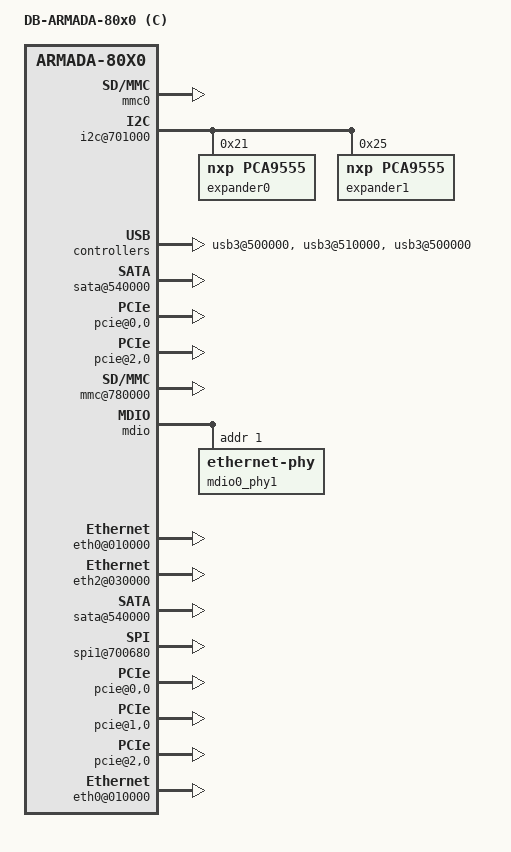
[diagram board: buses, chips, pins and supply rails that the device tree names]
/*
 * ***************************************************************************
 * Copyright (C) 2017 Marvell International Ltd.
 * ***************************************************************************
 * This program is free software: you can redistribute it and/or modify it
 * under the terms of the GNU General Public License as published by the Free
 * Software Foundation, either version 2 of the License, or any later version.
 *
 * This program is distributed in the hope that it will be useful,
 * but WITHOUT ANY WARRANTY; without even the implied warranty of
 * MERCHANTABILITY or FITNESS FOR A PARTICULAR PURPOSE.  See the
 * GNU General Public License for more details.
 *
 * You should have received a copy of the GNU General Public License
 * along with this program.  If not, see <http://www.gnu.org/licenses/>.
 * ***************************************************************************
 */
/dts-v1/;

#include "armada-80x0.dtsi" /* include SoC device tree */
#include "armada-80x0-dev-info.dtsi" /* include Marvell specific info (S@R, MPP cmd) */
#include "cp110-mpp-bus-info.dtsi" /* include MPP bus info */
#include <dt-bindings/multi-fdt/a8k/multi-fdt.h>
/ {
	model = "DB-ARMADA-80x0 (C)";
	compatible = "marvell,armada-80x0-db", "marvell,armada-80x0";
	fdt_config_id = <A80X0_C>;
	board_id = <A8K_8040_DB>;

	ap-806 {
		internal-regs {
			mmc0: mmc@6E0000 {
				status = "okay";
			};
			pinctl: pinctl@6F4000 {
					/* MPP Bus:
						SDIO  [0-10]
						UART0 [11,19]
					*/
					  /* 0 1 2 3 4 5 6 7 8 9 */
				pin-func = < 1 1 1 1 1 1 1 1 1 1
					     1 3 0 0 0 0 0 0 0 3>;
			};
		};
	};
	cp110-master {
		internal-regs {
			i2c@701000 {
				status = "okay";
				expander0: pca953x@21 {
					compatible = "nxp,pca9555";
					reg = <0x21>;
					status = "okay";
				};
				expander1: pca953x@25 {
					compatible = "nxp,pca9555";
					reg = <0x25>;
					status = "okay";
				};
			};
			utmi0@580000 {
				utmi-port = <UTMI_PHY_TO_USB3_HOST0>;
			};
			utmi1@581000 {
				utmi-port = <UTMI_PHY_TO_USB3_HOST1>;
			};
			usb3@500000 {
				gpio-vbus = <&expander0 EXPANDER0_GPIO(0) GPIO_ACTIVE_HIGH>;
				gpio-vbus-cur-lim = <&expander0 EXPANDER0_GPIO(4) GPIO_ACTIVE_HIGH>;
				vbus-enable-delay = <1000>;
				vbus-disable-delay = <1000>;
				status = "okay";
			};
			usb3@510000 {
				gpio-vbus = <&expander0 EXPANDER0_GPIO(1) GPIO_ACTIVE_HIGH>;
				gpio-vbus-cur-lim = <&expander0 EXPANDER0_GPIO(5) GPIO_ACTIVE_HIGH>;
				vbus-enable-delay = <1000>;
				vbus-disable-delay = <1000>;
				status = "okay";
			};
			sata@540000 {
				status = "okay";
			};
			pcie-controller {
				pcie@0,0 {
					status = "okay";
				};
				pcie@1,0 {
					status = "disabled";
				};
				pcie@2,0 {
					status = "okay";
				};
			};
			mmc@780000 {
				status = "okay";
			};
			pinctl@440000 {
					/* MPP Bus:
					   [0-31] = 0xff: Keep default CP0_shared_pins
						[11] CLKOUT_MPP_11 (out)
						[23] LINK_RD_IN_CP2CP (in)
						[25] CLKOUT_MPP_25 (out)
						[29] AVS_FB_IN_CP2CP (in)
					   [32,34] GE_MDIO/MDC
					   [33]    GPIO: GE_INT#/push button/Wake
					   [35]    MSS_GPIO[3]: MSS_PWDN
					   [36]    MSS_GPIO[5]: MSS_VTT_EN
					   [37-38] I2C0
					   [39]	   PTP_CLK
					   [40-41] SATA[0/1]_PRESENT_ACTIVEn
					   [42-43] XG_MDC/XG_MDIO (XSMI)
					   [44-55] RGMII1
					   [56-62] SD
					*/
					/*   0    1    2    3    4    5    6    7    8    9 */
				pin-func = < 0xff 0xff 0xff 0xff 0xff 0xff 0xff 0xff 0xff 0xff
					     0xff 0xff 0xff 0xff 0xff 0xff 0xff 0xff 0xff 0xff
					     0xff 0xff 0xff 0xff 0xff 0xff 0xff 0xff 0xff 0xff
					     0xff 0xff 7    0    7    0xA  0xA  2    2    5
					     9    9    8    8    1    1    1    1    1    1
					     1    1    1    1    1    1    0xE  0xE  0xE  0xE
					     0xE  0xE  0xE>;
			};

			comphy {
				/* Serdes Configuration:
					Lane 0: PCIe0 (x1)
					Lane 1: SATA0
					Lane 2: SFI (10G)
					Lane 3: SATA1
					Lane 4: USB3_HOST1
					Lane 5: PCIe2 (x1)
				*/
				phy0 {
					phy-type = <PHY_TYPE_PEX0>;
				};
				phy1 {
					phy-type = <PHY_TYPE_SATA0>;
				};
				phy2 {
					phy-type = <PHY_TYPE_SFI>;
				};
				phy3 {
					phy-type = <PHY_TYPE_SATA1>;
				};
				phy4 {
					phy-type = <PHY_TYPE_USB3_HOST1>;
				};
				phy5 {
					phy-type = <PHY_TYPE_PEX2>;
				};
			};
			mdio {
				#address-cells = <1>;
				#size-cells = <0>;
				mdio0_phy1: ethernet-phy@1 {
					reg = <1>;
				};
			};
			gop {
				mac0 {
					phy-mode = "sfi"; /* lane-2 */
				};
				mac2 {
					phy-mode = "none"; /* disabled */
				};
				mac3 {
					phy-mode = "rgmii"; /* rgmii-1 */
					phy = <&mdio0_phy1>;
				};
			};
			ppv22@000000 {
				eth0@010000 {
					status = "okay";
				};
				eth1@020000 {
					status = "disabled";
				};
				eth2@030000 {
					status = "okay";
				};
			};
		};
	};

	cp110-slave {
		internal-regs {
			utmi0@580000 {
				utmi-port = <UTMI_PHY_TO_USB3_HOST0>;
			};
			usb3@500000 {
				gpio-vbus = <&expander1 EXPANDER1_GPIO(0) GPIO_ACTIVE_HIGH>;
				gpio-vbus-cur-lim = <&expander1 EXPANDER1_GPIO(4) GPIO_ACTIVE_HIGH>;
				vbus-enable-delay = <1000>;
				vbus-disable-delay = <1000>;
				status = "okay";
			};
			sata@540000 {
				status = "okay";
			};
			spi1@700680 {
				status = "okay";
			};
			pcie-controller {
				pcie@0,0 {
					status = "okay";
				};
				pcie@1,0 {
					status = "okay";
				};
				pcie@2,0 {
					status = "okay";
				};
			};
			pinctl@440000 {
					/* MPP Bus:
					  [0-11] TDM
					  [13-16] SPI1
					  [27-28] SATA[0/1]_PRESENT_ACTIVEn
					  [29-30] UART0
					  [32-62] = 0xff: Keep default CP1_shared_pins
					*/
					/*   0    1    2    3    4    5    6    7    8    9 */
				pin-func = < 0x4  0x4  0x4  0x4  0x4  0x4  0x4  0x4  0x4  0x4
					     0x4  0x4  0x3  0x3  0x3  0x3  0x3  0xff 0xff 0xff
					     0xff 0xff 0xff 0xff 0xff 0xff 0xff 0x9  0x9  0xA
					     0xA  0x0  0xff 0xff 0xff 0xff 0xff 0xff 0xff 0xff
					     0xff 0xff 0xff 0xff 0xff 0xff 0xff 0xff 0xff 0xff
					     0xff 0xff 0xff 0xff 0xff 0xff 0xff 0xff 0xff 0xff
					     0xff 0xff 0xff>;

			};

			comphy {
				/* Serdes Configuration:
					Lane 0: PCIe0 (x1)
					Lane 1: SATA0
					Lane 2: SFI (10G)
					Lane 3: SATA1
					Lane 4: PCIe1 (x1)
					Lane 5: PCIe2 (x1)
				*/
				phy0 {
					phy-type = <PHY_TYPE_PEX0>;
				};
				phy1 {
					phy-type = <PHY_TYPE_SATA0>;
				};
				phy2 {
					phy-type = <PHY_TYPE_SFI>;
				};
				phy3 {
					phy-type = <PHY_TYPE_SATA1>;
				};
				phy4 {
					phy-type = <PHY_TYPE_PEX1>;
				};
				phy5 {
					phy-type = <PHY_TYPE_PEX2>;
				};
			};
			gop {
				mac0 {
					phy-mode = "sfi"; /* lane-2 */
				};
				mac2 {
					phy-mode = "none"; /* disabled */
				};
				mac3 {
					phy-mode = "none"; /* disabled */
				};
			};
			ppv22@000000 {
				status = "okay";
				eth0@010000 {
					status = "okay";
				};
				eth1@020000 {
					status = "disabled";
				};
				eth2@030000 {
					status = "disabled";
				};
			};
		};
	};
};
